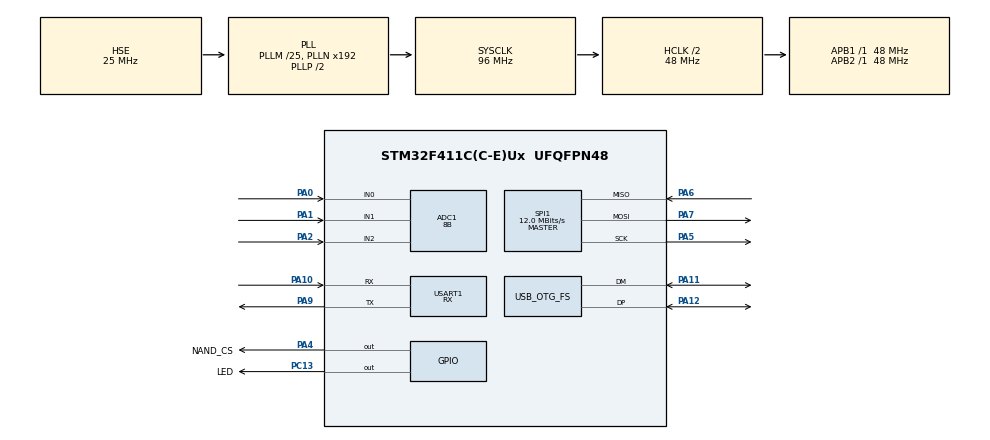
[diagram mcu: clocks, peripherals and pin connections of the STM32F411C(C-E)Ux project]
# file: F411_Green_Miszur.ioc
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ADC1.Channel-0\#ChannelRegularConversion=ADC_CHANNEL_0
ADC1.Channel-1\#ChannelRegularConversion=ADC_CHANNEL_1
ADC1.Channel-2\#ChannelRegularConversion=ADC_CHANNEL_2
ADC1.ClockPrescaler=ADC_CLOCK_SYNC_PCLK_DIV4
ADC1.ContinuousConvMode=ENABLE
ADC1.DMAContinuousRequests=ENABLE
ADC1.DiscontinuousConvMode=DISABLE
ADC1.EOCSelection=ADC_EOC_SEQ_CONV
ADC1.NbrOfConversion=3
ADC1.NbrOfConversionFlag=1
ADC1.Rank-0\#ChannelRegularConversion=1
ADC1.Rank-1\#ChannelRegularConversion=2
ADC1.Rank-2\#ChannelRegularConversion=3
ADC1.Resolution=ADC_RESOLUTION_8B
ADC1.SamplingTime-0\#ChannelRegularConversion=ADC_SAMPLETIME_112CYCLES
ADC1.SamplingTime-1\#ChannelRegularConversion=ADC_SAMPLETIME_112CYCLES
ADC1.SamplingTime-2\#ChannelRegularConversion=ADC_SAMPLETIME_112CYCLES
ADC1.ScanConvMode=ENABLE
ADC1.master=1
Dma.ADC1.0.Direction=DMA_PERIPH_TO_MEMORY
Dma.ADC1.0.FIFOMode=DMA_FIFOMODE_DISABLE
Dma.ADC1.0.Instance=DMA2_Stream0
Dma.ADC1.0.MemDataAlignment=DMA_MDATAALIGN_HALFWORD
Dma.ADC1.0.MemInc=DMA_MINC_ENABLE
Dma.ADC1.0.Mode=DMA_CIRCULAR
Dma.ADC1.0.PeriphDataAlignment=DMA_PDATAALIGN_HALFWORD
Dma.ADC1.0.PeriphInc=DMA_PINC_DISABLE
Dma.ADC1.0.Priority=DMA_PRIORITY_LOW
Dma.Request0=ADC1
Mcu.Family=STM32F4
Mcu.Name=STM32F411C(C-E)Ux
Mcu.Package=UFQFPN48
NVIC.ADC_IRQn=true\:0\:0\:false\:false\:true\:true\:true\:true
NVIC.DMA2_Stream0_IRQn=true\:0\:0\:false\:false\:true\:false\:true\:true
NVIC.OTG_FS_IRQn=true\:0\:0\:false\:false\:true\:false\:true\:true
NVIC.PriorityGroup=NVIC_PRIORITYGROUP_4
NVIC.TIM1_BRK_TIM9_IRQn=true\:0\:0\:false\:false\:true\:true\:true\:true
NVIC.TIM1_CC_IRQn=true\:0\:0\:false\:false\:true\:true\:true\:true
NVIC.TIM1_TRG_COM_TIM11_IRQn=true\:0\:0\:false\:false\:true\:true\:true\:true
NVIC.TIM1_UP_TIM10_IRQn=true\:0\:0\:false\:false\:true\:true\:true\:true
NVIC.USART1_IRQn=true\:0\:0\:false\:false\:true\:true\:true\:true
PA0-WKUP.Signal=ADCx_IN0
PA1.Signal=ADCx_IN1
PA10.Mode=Asynchronous
PA10.Signal=USART1_RX
PA11.Mode=Device_Only
PA11.Signal=USB_OTG_FS_DM
PA12.Mode=Device_Only
PA12.Signal=USB_OTG_FS_DP
PA13.Mode=Serial_Wire
PA13.Signal=SYS_JTMS-SWDIO
PA14.Mode=Serial_Wire
PA14.Signal=SYS_JTCK-SWCLK
PA2.Signal=ADCx_IN2
PA4.GPIO_Label=NAND_CS
PA4.Signal=GPIO_Output
PA5.Mode=Full_Duplex_Master
PA5.Signal=SPI1_SCK
PA6.Mode=Full_Duplex_Master
PA6.Signal=SPI1_MISO
PA7.Mode=Full_Duplex_Master
PA7.Signal=SPI1_MOSI
PA9.Mode=Asynchronous
PA9.Signal=USART1_TX
PC13-ANTI_TAMP.GPIO_Label=LED
PC13-ANTI_TAMP.PinState=GPIO_PIN_SET
PC13-ANTI_TAMP.Signal=GPIO_Output
PH0\ -\ OSC_IN.Mode=HSE-External-Oscillator
PH0\ -\ OSC_IN.Signal=RCC_OSC_IN
PH1\ -\ OSC_OUT.Mode=HSE-External-Oscillator
PH1\ -\ OSC_OUT.Signal=RCC_OSC_OUT
ProjectManager.HeapSize=0x200
ProjectManager.StackSize=0x400
ProjectManager.TargetToolchain=STM32CubeIDE
RCC.48MHZClocksFreq_Value=48000000
RCC.AHBCLKDivider=RCC_SYSCLK_DIV2
RCC.AHBFreq_Value=48000000
RCC.APB1Freq_Value=48000000
RCC.APB1TimFreq_Value=48000000
RCC.APB2Freq_Value=48000000
RCC.APB2TimFreq_Value=48000000
RCC.CortexFreq_Value=48000000
RCC.HCLKFreq_Value=48000000
RCC.HSE_VALUE=25000000
RCC.HSI_VALUE=16000000
RCC.LSE_VALUE=32768
RCC.PLLM=25
RCC.SYSCLKFreq_VALUE=96000000
RCC.SYSCLKSource=RCC_SYSCLKSOURCE_PLLCLK
RCC.VCOOutputFreq_Value=192000000
SH.ADCx_IN0.0=ADC1_IN0,IN0
SH.ADCx_IN1.0=ADC1_IN1,IN1
SH.ADCx_IN2.0=ADC1_IN2,IN2
SPI1.BaudRatePrescaler=SPI_BAUDRATEPRESCALER_4
SPI1.CalculateBaudRate=12.0 MBits/s
SPI1.Direction=SPI_DIRECTION_2LINES
SPI1.Mode=SPI_MODE_MASTER
SPI1.VirtualType=VM_MASTER
TIM1.AutoReloadPreload=TIM_AUTORELOAD_PRELOAD_ENABLE
TIM1.Period=100
TIM1.Prescaler=47
USART1.Mode=MODE_RX
USART1.VirtualMode=VM_ASYNC
USB_DEVICE.CLASS_NAME_FS=CDC
USB_DEVICE.USBD_DEBUG_LEVEL=1
USB_DEVICE.VirtualMode=Cdc
USB_DEVICE.VirtualModeFS=Cdc_FS
USB_OTG_FS.VirtualMode=Device_Only
VP_TIM1_VS_ClockSourceINT.Mode=Internal
VP_USB_DEVICE_VS_USB_DEVICE_CDC_FS.Mode=CDC_FS
board=custom

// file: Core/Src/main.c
/* USER CODE BEGIN Header */
/**
  ******************************************************************************
  * @file           : main.c
  * @brief          : Main program body
  ******************************************************************************
  * @attention
  *
  * Copyright (c) 2024 STMicroelectronics.
  * All rights reserved.
  *
  * This software is licensed under terms that can be found in the LICENSE file
  * in the root directory of this software component.
  * If no LICENSE file comes with this software, it is provided AS-IS.
  *
  ******************************************************************************
  */
/* USER CODE END Header */
#include "main.h"
#include "adc.h"
#include "dma.h"
#include "spi.h"
#include "tim.h"
#include "usart.h"
#include "usb_device.h"
#include "gpio.h"

/* USER CODE BEGIN Includes */

#include "Functions.h"
#include "W25N01G.h"
#include "usbd_cdc_if.h"

/* USER CODE END Includes */

/* USER CODE BEGIN PV */

Frame frames[QUE_SIZE];

/* USER CODE END PV */

void SystemClock_Config(void);

int main(void)
{

  /* MCU Configuration--------------------------------------------------------*/

  /* Reset of all peripherals, Initializes the Flash interface and the Systick. */
  HAL_Init();

  /* Configure the system clock */
  SystemClock_Config();

  /* Initialize all configured peripherals */
  MX_GPIO_Init();
  MX_DMA_Init();
  MX_ADC1_Init();
  MX_SPI1_Init();
  MX_TIM1_Init();
  MX_USART1_UART_Init();
  MX_USB_DEVICE_Init();
  /* USER CODE BEGIN 2 */

  // Init Everything in MCU:
  HAL_Delay(900);
  HAL_ADC_Start(&hadc1);
  HAL_TIM_Base_Init(&htim1);
  HAL_TIM_Base_MspInit(&htim1);
  HAL_TIM_Base_Start_IT(&htim1);
  HAL_UART_Receive_IT(&huart1, &rocketState, 1);

  // Init Flash:
  uint8_t ret = 1;
  while(ret) {
	  ret = flashBegin();
	  HAL_GPIO_WritePin(LED_GPIO_Port, LED_Pin, !ret);
	  HAL_Delay(1000);
  }

  //HAL_Delay(3000);
  uint8_t flashBuf[BUF_SIZE];
  uint16_t slot_page_offset;
  HAL_ADC_Start_DMA(&hadc1, (uint32_t*) adctest, 3);

  /* USER CODE END 2 */

  /* Infinite loop */
  /* USER CODE BEGIN WHILE */
  while (1)
  {

	  if (rocketState < 6) {

		  for (uint8_t i = 0; i < 3; i++) {

			  HAL_GPIO_WritePin(LED_GPIO_Port, LED_Pin, 0);
			  HAL_Delay(250);
			  HAL_GPIO_WritePin(LED_GPIO_Port, LED_Pin, 1);
			  HAL_Delay(500);
		  }

		  // Here USB read:
		  while (!txRequest) HAL_Delay(1);

		  // SLOT A read:
		  slot_page_offset = SLOT_A_OFFSET;
		  char slot_info[] = "SLOT_A";
		  CDC_Transmit_FS((uint8_t*) slot_info, strlen(slot_info));

		  for (uint16_t j = 0; j < SLOT_PAGE_NUMBER; j++) {

			  pageDataRead(j + slot_page_offset);
			  read(0, flashBuf, BUF_SIZE);

			  _Bool empty = 1;
			  for (uint16_t i = 0; i < 2048; i++) {
				  if (flashBuf[i] != 255) empty = 0;
			  }
			  if (empty) break;
			  else CDC_Transmit_FS(flashBuf, sizeof(Frame));
		  }

		  // SLOT B read:
		  slot_page_offset = SLOT_B_OFFSET;
		  slot_info[5] = 'B';
		  HAL_Delay(10);
		  CDC_Transmit_FS((uint8_t*) slot_info, strlen(slot_info));
		  HAL_Delay(10);

		  for (uint16_t j = 0; j < SLOT_PAGE_NUMBER; j++) {

			  pageDataRead(j + slot_page_offset);
			  read(0, flashBuf, BUF_SIZE);

			  _Bool empty = 1;
			  for (uint16_t i = 0; i < 2048; i++) {
				  if (flashBuf[i] != 255) empty = 0;
			  }
			  if (empty) break;
			  else CDC_Transmit_FS(flashBuf, sizeof(Frame));
		  }
	  }

	  if (rocketState >= 6) {

		  // Flash slot change:
		  pageDataRead(CONFIGURATION_PAGE);
		  read(0, flashBuf, BUF_SIZE);

		  uint8_t isSlot_A = flashBuf[0];
		  flashBuf[0] = !isSlot_A;
		  blockErase(CONFIGURATION_PAGE);

		  if (isSlot_A) {
			  // If we are in slot A, save slot B for next reset:
			  slot_page_offset = SLOT_A_OFFSET;
		  }
		  else {
			  // If we are in slot B, save slot A for next reset:
			  slot_page_offset = SLOT_B_OFFSET;
		  }
		  loadProgData(0, flashBuf, BUF_SIZE);
		  ProgramExecute(CONFIGURATION_PAGE);

		  // Flash slot erase (only in state 6):
		  if (rocketState >= 6) {

			  HAL_GPIO_WritePin(LED_GPIO_Port, LED_Pin, 0);
			  for (uint16_t j = 0; j < SLOT_PAGE_NUMBER; j += PAGES_IN_BLOCK) {

				  blockErase(j + slot_page_offset);
			  }

			  HAL_GPIO_WritePin(LED_GPIO_Port, LED_Pin, 1);
			  HAL_Delay(1000);
		  }

		  // Save start:
		  for (uint16_t j = 0; j < SLOT_PAGE_NUMBER; j++) {

			  for (uint16_t i = 0; i < QUE_SIZE; i ++) {

				  doMeasurements(&frames[i]);
			  }

			  for (uint16_t i = 0; i < QUE_SIZE; i++) {

				  HAL_GPIO_WritePin(LED_GPIO_Port, LED_Pin, 0);
				  loadProgData(0, (uint8_t*) &frames[i], sizeof(Frame));
				  ProgramExecute(j + slot_page_offset);
				  HAL_GPIO_WritePin(LED_GPIO_Port, LED_Pin, 1);
			  }
		  }
	  }

	  while (1) { HAL_GPIO_WritePin(LED_GPIO_Port, LED_Pin, 0); }
    /* USER CODE END WHILE */

  }
}

void SystemClock_Config(void)
{
  RCC_OscInitTypeDef RCC_OscInitStruct = {0};
  RCC_ClkInitTypeDef RCC_ClkInitStruct = {0};

  /** Configure the main internal regulator output voltage
  */
  __HAL_RCC_PWR_CLK_ENABLE();
  __HAL_PWR_VOLTAGESCALING_CONFIG(PWR_REGULATOR_VOLTAGE_SCALE1);

  /** Initializes the RCC Oscillators according to the specified parameters
  * in the RCC_OscInitTypeDef structure.
  */
  RCC_OscInitStruct.OscillatorType = RCC_OSCILLATORTYPE_HSE;
  RCC_OscInitStruct.HSEState = RCC_HSE_ON;
  RCC_OscInitStruct.PLL.PLLState = RCC_PLL_ON;
  RCC_OscInitStruct.PLL.PLLSource = RCC_PLLSOURCE_HSE;
  RCC_OscInitStruct.PLL.PLLM = 25;
  RCC_OscInitStruct.PLL.PLLN = 192;
  RCC_OscInitStruct.PLL.PLLP = RCC_PLLP_DIV2;
  RCC_OscInitStruct.PLL.PLLQ = 4;
  if (HAL_RCC_OscConfig(&RCC_OscInitStruct) != HAL_OK)
  {
    Error_Handler();
  }

  /** Initializes the CPU, AHB and APB buses clocks
  */
  RCC_ClkInitStruct.ClockType = RCC_CLOCKTYPE_HCLK|RCC_CLOCKTYPE_SYSCLK
                              |RCC_CLOCKTYPE_PCLK1|RCC_CLOCKTYPE_PCLK2;
  RCC_ClkInitStruct.SYSCLKSource = RCC_SYSCLKSOURCE_PLLCLK;
  RCC_ClkInitStruct.AHBCLKDivider = RCC_SYSCLK_DIV2;
  RCC_ClkInitStruct.APB1CLKDivider = RCC_HCLK_DIV1;
  RCC_ClkInitStruct.APB2CLKDivider = RCC_HCLK_DIV1;

  if (HAL_RCC_ClockConfig(&RCC_ClkInitStruct, FLASH_LATENCY_1) != HAL_OK)
  {
    Error_Handler();
  }
}

void Error_Handler(void)
{
  __disable_irq();
  while (1)
  {
  }
}
